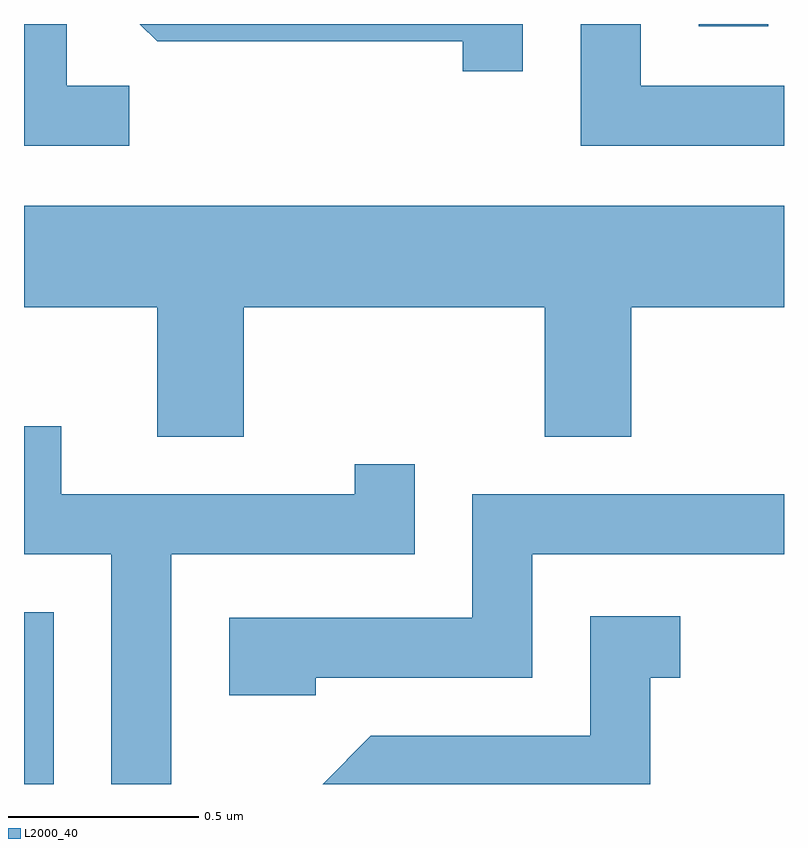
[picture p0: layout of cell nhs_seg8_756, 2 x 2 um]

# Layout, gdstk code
import gdstk
lib = gdstk.Library(unit=1e-6, precision=1e-09)
def R(c, l, rs):  # rectangles x0, y0, x1, y1
    for r in rs: c.add(gdstk.rectangle(r[:2], r[2:], *l))
def P(c, l, *ps):  # polygons
    for p in ps: c.add(gdstk.Polygon(p, *l))
L2000_40 = (2000, 40)

nhs_seg8_756 = lib.new_cell('nhs_seg8_756')
R(nhs_seg8_756, L2000_40, [(190.611,1877.342,190.689,1877.794), (192.386,1879.336,192.569,1879.342)])
P(nhs_seg8_756, L2000_40, [(192.611,1879.179),(192.234,1879.179),(192.234,1879.342),(192.076,1879.342),(192.076,1879.021),(192.611,1879.021)],
  [(191.924,1879.342),(190.916,1879.342),(190.962,1879.296),(191.766,1879.296),(191.766,1879.218),(191.924,1879.218)],
  [(190.888,1879.179),(190.724,1879.179),(190.724,1879.342),(190.611,1879.342),(190.611,1879.021),(190.888,1879.021)],
  [(191.189,1878.596),(191.981,1878.596),(191.981,1878.256),(192.209,1878.256),(192.209,1878.596),(192.611,1878.596),(192.611,1878.864),(190.611,1878.864),(190.611,1878.596),(190.961,1878.596),(190.961,1878.256),(191.189,1878.256)],
  [(190.999,1877.946),(191.639,1877.946),(191.639,1878.183),(191.481,1878.183),(191.481,1878.104),(190.709,1878.104),(190.709,1878.283),(190.611,1878.283),(190.611,1877.946),(190.841,1877.946),(190.841,1877.342),(190.999,1877.342)],
  [(191.379,1877.621),(191.949,1877.621),(191.949,1877.946),(192.611,1877.946),(192.611,1878.104),(191.791,1878.104),(191.791,1877.779),(191.151,1877.779),(191.151,1877.576),(191.379,1877.576)],
  [(192.259,1877.621),(192.338,1877.621),(192.338,1877.784),(192.101,1877.784),(192.101,1877.469),(191.524,1877.469),(191.397,1877.342),(192.259,1877.342)])

lib.write_gds('nhs_seg8_756.gds')
